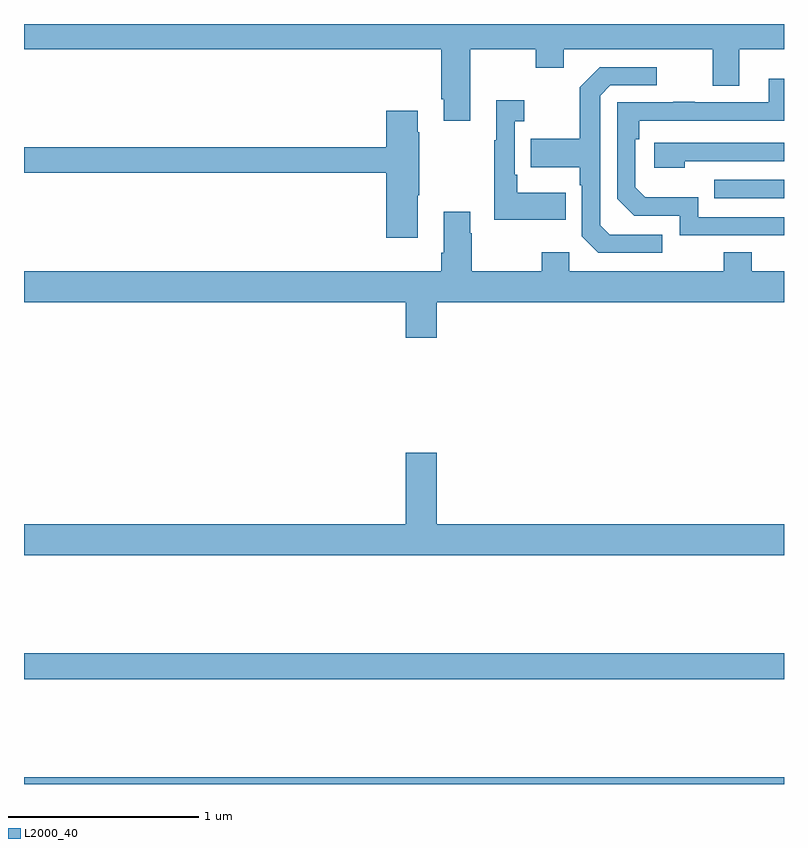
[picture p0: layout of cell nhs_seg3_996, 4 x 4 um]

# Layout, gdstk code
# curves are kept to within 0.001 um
import gdstk
lib = gdstk.Library(unit=1e-6, precision=1e-09)
def R(c, l, rs):  # rectangles x0, y0, x1, y1
    for r in rs: c.add(gdstk.rectangle(r[:2], r[2:], *l))
def P(c, l, *ps):  # polygons
    for p in ps: c.add(gdstk.Polygon(p, *l))
L2000_40 = (2000, 40)

nhs_seg3_996 = lib.new_cell('nhs_seg3_996')
R(nhs_seg3_996, L2000_40, [(163,678.4,167,678.436), (163,678.952,167,679.088), (166.633,681.483,167,681.579)])
P(nhs_seg3_996, L2000_40, [(165.349,682.268),(165.694,682.268),(165.694,682.169),(165.841,682.169),(165.841,682.268),(166.625,682.268),(166.625,682.074),(166.765,682.074),(166.765,682.268),(167,682.268),(167,682.4),(163,682.4),(163,682.268),(165.197,682.268),(165.197,682.003),(165.209,682.003),(165.209,681.891),(165.349,681.891)],
  [(166.36,681.291),(166.083,681.291),(166.032,681.342),(166.032,682.023),(166.086,682.077),(166.33,682.077),(166.33,682.173),(166.029,682.173),(165.924,682.067),(165.924,681.795),(165.667,681.795),(165.667,681.647),(165.924,681.647),(165.924,681.551),(165.936,681.551),(165.936,681.282),(166.023,681.195),(166.36,681.195)],
  [(167,681.384),(166.548,681.384),(166.548,681.487),(166.271,681.487),(166.218,681.54),(166.218,681.794),(166.238,681.794),(166.238,681.891),(167,681.892),(167,682.111),(166.919,682.111),(166.919,681.987),(166.529,681.987),(166.529,681.992),(166.417,681.992),(166.417,681.987),(166.122,681.987),(166.122,681.48),(166.212,681.39),(166.452,681.39),(166.452,681.288),(167,681.288)],
  [(165.851,681.511),(165.595,681.511),(165.595,681.607),(165.582,681.607),(165.582,681.887),(165.634,681.887),(165.634,682),(165.485,682),(165.485,681.787),(165.474,681.787),(165.474,681.371),(165.851,681.371)],
  [(165.073,681.499),(165.081,681.499),(165.081,681.83),(165.073,681.83),(165.073,681.943),(164.906,681.943),(164.906,681.752),(163,681.752),(163,681.616),(164.906,681.616),(164.906,681.276),(165.073,681.276)],
  [(166.478,681.678),(167,681.678),(167,681.774),(166.317,681.774),(166.317,681.644),(166.478,681.644)],
  [(165.172,680.936),(167,680.936),(167,681.1),(166.831,681.1),(166.831,681.199),(166.684,681.199),(166.684,681.1),(165.87,681.1),(165.87,681.199),(165.724,681.199),(165.724,681.1),(165.357,681.1),(165.357,681.299),(165.349,681.299),(165.349,681.412),(165.209,681.412),(165.209,681.196),(165.197,681.196),(165.197,681.1),(163,681.1),(163,680.936),(165.008,680.936),(165.008,680.748),(165.172,680.748)],
  [(167,679.768),(165.172,679.768),(165.172,680.143),(165.008,680.143),(165.008,679.768),(163,679.768),(163,679.604),(167,679.604)])

lib.write_gds('nhs_seg3_996.gds')
